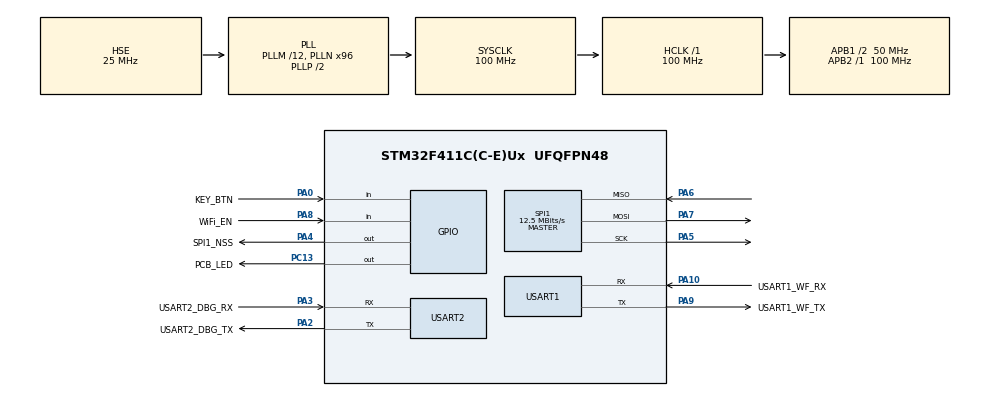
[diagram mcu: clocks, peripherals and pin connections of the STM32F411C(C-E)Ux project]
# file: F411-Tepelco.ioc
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Mcu.Family=STM32F4
Mcu.Name=STM32F411C(C-E)Ux
Mcu.Package=UFQFPN48
NVIC.PriorityGroup=NVIC_PRIORITYGROUP_4
NVIC.TIM2_IRQn=true\:0\:0\:false\:false\:true\:true\:true\:true
NVIC.USART1_IRQn=true\:0\:0\:false\:false\:true\:true\:true\:true
NVIC.USART2_IRQn=true\:0\:0\:false\:false\:true\:true\:true\:true
PA0-WKUP.GPIO_Label=KEY_BTN
PA0-WKUP.Signal=GPIO_Input
PA10.GPIO_Label=USART1_WF_RX
PA10.Mode=Asynchronous
PA10.Signal=USART1_RX
PA13.Mode=Trace_Asynchronous_SW
PA13.Signal=SYS_JTMS-SWDIO
PA14.Mode=Trace_Asynchronous_SW
PA14.Signal=SYS_JTCK-SWCLK
PA2.GPIO_Label=USART2_DBG_TX
PA2.Mode=Asynchronous
PA2.Signal=USART2_TX
PA3.GPIO_Label=USART2_DBG_RX
PA3.Mode=Asynchronous
PA3.Signal=USART2_RX
PA4.GPIO_Label=SPI1_NSS
PA4.GPIO_Speed=GPIO_SPEED_FREQ_VERY_HIGH
PA4.PinState=GPIO_PIN_SET
PA4.Signal=GPIO_Output
PA5.Mode=Full_Duplex_Master
PA5.Signal=SPI1_SCK
PA6.Mode=Full_Duplex_Master
PA6.Signal=SPI1_MISO
PA7.Mode=Full_Duplex_Master
PA7.Signal=SPI1_MOSI
PA8.GPIO_Label=WiFi_EN
PA8.Signal=GPIO_Input
PA9.GPIO_Label=USART1_WF_TX
PA9.Mode=Asynchronous
PA9.Signal=USART1_TX
PB3.Mode=Trace_Asynchronous_SW
PB3.Signal=SYS_JTDO-SWO
PC13-ANTI_TAMP.GPIO_Label=PCB_LED
PC13-ANTI_TAMP.Signal=GPIO_Output
PC14-OSC32_IN.Mode=LSE-External-Oscillator
PC14-OSC32_IN.Signal=RCC_OSC32_IN
PC15-OSC32_OUT.Mode=LSE-External-Oscillator
PC15-OSC32_OUT.Signal=RCC_OSC32_OUT
PH0\ -\ OSC_IN.Mode=HSE-External-Oscillator
PH0\ -\ OSC_IN.Signal=RCC_OSC_IN
PH1\ -\ OSC_OUT.Mode=HSE-External-Oscillator
PH1\ -\ OSC_OUT.Signal=RCC_OSC_OUT
ProjectManager.HeapSize=0x200
ProjectManager.StackSize=0x400
ProjectManager.TargetToolchain=STM32CubeIDE
RCC.48MHZClocksFreq_Value=50000000
RCC.AHBFreq_Value=100000000
RCC.APB1CLKDivider=RCC_HCLK_DIV2
RCC.APB1Freq_Value=50000000
RCC.APB1TimFreq_Value=100000000
RCC.APB2Freq_Value=100000000
RCC.APB2TimFreq_Value=100000000
RCC.CortexFreq_Value=100000000
RCC.HCLKFreq_Value=100000000
RCC.HSE_VALUE=25000000
RCC.HSI_VALUE=16000000
RCC.PLLM=12
RCC.PLLN=96
RCC.PLLSourceVirtual=RCC_PLLSOURCE_HSE
RCC.SYSCLKFreq_VALUE=100000000
RCC.SYSCLKSource=RCC_SYSCLKSOURCE_PLLCLK
RCC.VCOOutputFreq_Value=200000000
SPI1.BaudRatePrescaler=SPI_BAUDRATEPRESCALER_8
SPI1.CalculateBaudRate=12.5 MBits/s
SPI1.Direction=SPI_DIRECTION_2LINES
SPI1.Mode=SPI_MODE_MASTER
SPI1.VirtualType=VM_MASTER
TIM2.AutoReloadPreload=TIM_AUTORELOAD_PRELOAD_ENABLE
TIM2.Channel-Output\ Compare1\ No\ Output=TIM_CHANNEL_1
TIM2.OCMode_1=TIM_OCMODE_TIMING
TIM2.Period=100
TIM2.Prescaler=100
USART1.VirtualMode=VM_ASYNC
USART2.VirtualMode=VM_ASYNC
VP_TIM2_VS_ClockSourceINT.Mode=Internal
VP_TIM2_VS_OPM.Mode=OPM_bit
VP_TIM2_VS_no_output1.Mode=Output Compare1 No Output
board=custom

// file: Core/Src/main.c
/* USER CODE BEGIN Header */
/**
  ******************************************************************************
  * @file           : main.c
  * @brief          : Main program body
  ******************************************************************************
  * @attention
  *
  * Copyright (c) 2022 STMicroelectronics.
  * All rights reserved.
  *
  * This software is licensed under terms that can be found in the LICENSE file
  * in the root directory of this software component.
  * If no LICENSE file comes with this software, it is provided AS-IS.
  *
  ******************************************************************************
  */
/* USER CODE END Header */
#include "main.h"

/* USER CODE BEGIN Includes */
#include "ESP8266_Chelo.h"
#include "ModBUS_Chelo.h"
#include "STR_Chelo.h"
#include "ETH_W5100.h"
#include "string.h"
#include "stdio.h"
#include "http.h"
/* USER CODE END Includes */

/* USER CODE BEGIN PTD */
#define TOK 1
#define FIND 0
#define SERVIDOR 1
#define CLIENTE 0
/* USER CODE END PTD */

/* USER CODE BEGIN PM */
#define ITM_Port32(n)   (*((volatile unsigned long *)(0xE0000000+4*n)))
/* USER CODE END PM */

SPI_HandleTypeDef hspi1;

TIM_HandleTypeDef htim2;

UART_HandleTypeDef huart1;
UART_HandleTypeDef huart2;

/* USER CODE BEGIN PV */

struct WIFI wf;				// Instancia LoRa
struct MBUS mb_eth;			// Instancia Ethernet
struct MBUS mb_wf;			// Instancia MBUS Wi-Fi
struct W5100_SPI ETH; // Instancia de la comunicación Ethernet

char post[512];
char body[512];
char ENDPOINT[]="/logdata",
     SERVER_IP[]="192.168.0.91",
     PORT[]="8000";
uint32_t REG[254],		//Registros para ver ModBUS
 	 	 ms_ticks=0,
		 min_ticks=0;

// ****** Begin Firmware Registers ****** //

// ****** End Firmware Registers ****** //

// ****** Begin Socket Memory assignment ****** //
/*uint16_t 	S0_get_size = 0,
			S0_RX_RD = 0,
			tx_mem_pointer=0,
			rx_mem_pointer=0,
			send_size=0;*/
uint16_t 	S0_get_size = 0,
			S0_get_offset = 0,
			S0_RX_RD = 0,
			S0_get_start_address = 0,
			tx_mem_pointer=0,
			rx_mem_pointer=0,
			destination_addr=0,
			left_size=0,
			upper_size=0,
			S0_READ_RX_RD=0,
			S0_bf_rcv_offset=0,

			Sn_TX_WR=0,
			get_offset=0,
			get_free_size=0,
			get_start_address=0,
			source_addr=0,
			send_size=0;
// ****** End Socket Memory assignment ****** //

uint8_t spi_Data[64],
		spi_no_debug=0,
		ESP_REinit=0,			//Conteo de intentos de incializacion
		ESP_InitF=0,			//Flag de error por no encontrar la sentencia
		ESP_HW_Init=0,
		EN_UART1_WF_TMR=0,
		EN_USART1_TMR=0,
		FLAG_TIMEOUT_WF=0,
		FLAG_UART1_WF=0,
		esp_restart=0,
		conexion,
		asc=0,
		WF_SND_FLAG=0,
		error=0,
		//--------debug----//
		SPI_ETH_READ_EN=0;

char	UART1_WF_RX_vect[512],
		UART2_RX_vect[512],
		UART1_WF_RX_vect_hld[512],
		WIFI_NET[]="PLC_DEV",//WIFI_NET[]="Fibertel WiFi967 2.4GHz",//WIFI_NET[]="PLC_DEV",//
		WIFI_PASS[]="12345678",//WIFI_PASS[]="0042880756",//WIFI_PASS[]="12345678",//
		TCP_SERVER[]="192.168.0.91",//"192.168.0.91",//TCP_SERVER[]="192.168.0.65",//TCP_SERVER[]="192.168.0.102",//TCP_SERVER[]="192.168.0.47",
		TCP_PORT[]="8000",//TCP_PORT[]="502",
		TCP_SERVER_LOCAL[]="192.168.0.35",//TCP_SERVER_LOCAL[]="192.168.0.33",//TCP_SERVER[]="192.168.0.47",
		TCP_SERVER_LOCAL_GWY[]="192.168.0.99",//TCP_SERVER[]="192.168.0.47",
		TCP_SERVER_LOCAL_MSK[]="255.255.255.0",//TCP_SERVER[]="192.168.0.47",
		TCP_PORT_LOCAL[]="502",
		CMP_VECT[]="\0",
		UART1_WF_RX_byte[2];

int UART1_WF_RX_items=0,
    ESP_ticks=0,
	MBUS_ticks=0,
	MB_TOUT_ticks=0,
    ticks=0,
	ntestc=0,
	dummy_int=0,
	uart1pass=0,
	USART1_ticks=0,
	FLAG_USART1=0,
	items_rx=0,
	UART1_WF_RX_pos=0,
	ETH_DBG_EN=1,
	WF_SER_DBG=1,					//Debug serial habilitado
	wf_snd_flag_ticks=0;

long dbgn=0;

enum {
	TEPELCO,
	TEST_1,
	TEST_2
};
/* USER CODE END PV */

void SystemClock_Config(void);
static void MX_GPIO_Init(void);
static void MX_SPI1_Init(void);
static void MX_USART1_UART_Init(void);
static void MX_USART2_UART_Init(void);
static void MX_TIM2_Init(void);
/* USER CODE BEGIN PFP */
	uint8_t ESP8266_HW_Init(UART_HandleTypeDef *);
	void ESP8266_HW_Reset(void);
	void Actualizar_RXdata(int );
/* USER CODE END PFP */

int main(void)
{
  /* USER CODE BEGIN 1 */
	//----------------------- ETHERNET W5100 Environment-------------------------//

	//	GATEWAY ADDRESS
		ETH.GAR[0]=192;
		ETH.GAR[1]=168;
		ETH.GAR[2]=0;
		ETH.GAR[3]=1;
	//	SUBNET MASK
		ETH.SUBR[0]=255;
		ETH.SUBR[1]=255;
		ETH.SUBR[2]=255;
		ETH.SUBR[3]=0;
	//	MAC ADDRESS
		ETH.SHAR[0]=0x00;
		ETH.SHAR[1]=0x08;
		ETH.SHAR[2]=0xDC;
		ETH.SHAR[3]=0x00;
		ETH.SHAR[4]=0x00;
		ETH.SHAR[5]=0x01;
	//	IP ADDRESS
		ETH.SIPR[0]=192;
		ETH.SIPR[1]=168;
		ETH.SIPR[2]=0;
		ETH.SIPR[3]=34;//ETH.SIPR[3]=6,
	//  Socket RX memory
		ETH.RMSR=0x55;
	//  Socket TX memory
		ETH.TMSR=0x55;
	//  S0 Port Number
		ETH.S0_PORT[0]=0x01;
		ETH.S0_PORT[1]=0xF6;
	//	S0 Client IP ADDRESS
		ETH.S0_DIPR[0]=192;
		ETH.S0_DIPR[1]=168;
		ETH.S0_DIPR[2]=0;
		ETH.S0_DIPR[3]=3;//=3;
	//	S0 Client IP ADDRESS
		ETH.S0_DPORT[0]=0x01;
		ETH.S0_DPORT[1]=0xF6;

		ETH.gS0_RX_BASE = 0x6000;
		ETH.gS0_RX_MASK = 0x07FF;
		ETH.gS1_RX_BASE = 0x6800;
		ETH.gS1_RX_MASK = 0x07FF;
		ETH.gS2_RX_BASE = 0x7000;
		ETH.gS2_RX_MASK = 0x07FF;
		ETH.gS3_RX_BASE = 0x7800;
		ETH.gS3_RX_MASK = 0x07FF;
		ETH.gS0_TX_BASE = 0x4000;
		ETH.gS0_TX_MASK = 0x07FF;
		ETH.gS1_TX_BASE = 0x4800;
		ETH.gS1_TX_MASK = 0x07FF;
		ETH.gS2_TX_BASE = 0x5000;
		ETH.gS2_TX_MASK = 0x07FF;
		ETH.gS3_TX_BASE = 0x5800;
		ETH.gS3_TX_MASK = 0x07FF;

		ETH.S0_ENserver = 0;			//Actúa como servidor S0_ENserver=1 o cliente S0_ENserver=0

	//----------------------- ETHERNET W5100 Environment-------------------------//

	//----------------------- WIFI ------------------------//
 	  	Inicializar(&wf); 									//Borra todos los registros de la estructura
		strcpy(wf._WF_Net, WIFI_NET);						//Nombre de la red WIFI  a conectar Fibertel WiFi967 2.4GHz
		strcpy(wf._WF_Pass, WIFI_PASS);						//Password de la red WIFI
		strcpy(wf._TCP_Remote_Server_IP, TCP_SERVER);		//char _TCP_Remote_Server_IP[16];		//IP del Servidor TCP
		strcpy(wf._TCP_Remote_Server_Port, TCP_PORT);		//char _TCP_Remote_Server_Port[16];			//Puerto del Servidor TCP
		strcpy(wf._TCP_Local_Server_IP, TCP_SERVER_LOCAL);
		strcpy(wf._TCP_Local_Server_GWY, TCP_SERVER_LOCAL_GWY);
		strcpy(wf._TCP_Local_Server_MSK, TCP_SERVER_LOCAL_MSK);
		strcpy(wf._TCP_Local_Server_Port, TCP_PORT_LOCAL);
		wf._TCP_Local_Server_EN=0;							//Habilito el Servidor Local
		wf._data2SND[0]=0x00;//strcpy(wf._data2SND,"01;03;00;00;00;0A;C5;CD");//strcpy(wf._data2SND,"20;352;52#");
		wf._data2SND[1]=0x00;
		wf._data2SND[2]=0x00;
		wf._data2SND[3]=0x00;
		wf._data2SND[4]=0x00;
		wf._data2SND[5]=0x06;
		wf._data2SND[6]=0x01;
		wf._data2SND[7]=0x03;
		wf._data2SND[8]=0x00;//strcpy(wf._data2SND,"01;03;00;00;00;0A;C5;CD");//strcpy(wf._data2SND,"20;352;52#");
		wf._data2SND[9]=0x00;
		wf._data2SND[10]=0x00;
		wf._data2SND[11]=0x0A;
		wf._data2SND[12]=0x00;
		wf._data2SND[13]=0x33;
		wf._data2SND[14]=0x34;
		wf._data2SND[15]=0x35;
		wf._n_D2SND=12;
		wf._estado_conexion=100;//Si no se define no arranca	//wf._estado_conexion=1;					//Arranco en WiFi Desconectado
		wf._automatizacion=WF_CONNECT_TCP;//wf._automatizacion=WF_SEND;
		wf._NO_IP=1;
		wf._DBG_EN=1;

	// ----------- INICIO - Seteo de módulo Ethernet W5100 ----------- //

		spi_no_debug=1;
		ETH.NSS_PORT=GPIOA;
		ETH.NSS_PIN=GPIO_PIN_4;
		ETH.SPI= &hspi1;

	// ----------- FIN - Seteo de módulo Ethernet W5100 ----------- //

	 //----------------------- WIFI ------------------------//

	 //---------------------- ModBUS -----------------------//

		ModBUS_Config(&mb_eth);		//ETHERNET como cliente TCP envía  ModBUS
		mb_eth._mode = CLIENTE;
		ModBUS_Config(&mb_wf);	//WIFI como servidor TCP, recibe comadno ModBUS
		mb_wf._mode = CLIENTE;
		ModBUS_F03_Assign(&mb_wf,3,0xAA55);

	 //---------------------- ModBUS -----------------------//
  /* USER CODE END 1 */

  /* MCU Configuration--------------------------------------------------------*/

  /* Reset of all peripherals, Initializes the Flash interface and the Systick. */
  HAL_Init();

  /* Configure the system clock */
  SystemClock_Config();

  /* USER CODE BEGIN SysInit */
  SysTick_Config(SystemCoreClock/1000);
  /* USER CODE END SysInit */

  /* Initialize all configured peripherals */
  MX_GPIO_Init();
  MX_SPI1_Init();
  MX_USART1_UART_Init();
  MX_USART2_UART_Init();
  MX_TIM2_Init();
  /* USER CODE BEGIN 2 */

	HAL_GPIO_WritePin(GPIOA, GPIO_PIN_1, 0);
	ITM0_Write("\r\n INICIO OK\r\n",strlen("\r\n INICIO OK\r\n"));
	HAL_UART_Receive_IT(&huart1,(uint8_t *)UART1_WF_RX_byte,1);		//Escucho el puerto serie
	ESP8266_HW_Reset();		 						          	//Reseteo el modulo desde el pin de RESET
	if (wf._DBG_EN==1)
		{
		ITM0_Write("\r\n RESET ESP8266 \r\n",strlen("\r\n RESET ESP8266 \r\n"));
		}
	if (WF_SER_DBG==1)
		{
		HAL_UART_Transmit_IT(&huart2, "\r\n RESET ESP8266 \r\n",strlen("\r\n RESET ESP8266 \r\n"));
		}
	if (ETH_DBG_EN == 1) ITM0_Write("\r\n SET-UP W5100 \r\n",strlen("\r\n SET-UP W5100 \r\n"));

	ETH.operacion=SPI_WRITE;
	ETH.TX[1]= 0;
	ETH.TX[2]= 1;
	ETH.TX[3]= 192;

	eth_init(&ETH);

	eth_socket_init(&ETH,0);

	SPI_ETH_READ_EN=1;
	ETH.operacion=SPI_READ;
	ETH.TX[1]= 0;
	ETH.TX[2]= 1;
	ETH.TX[3]= 0;

     if(ESP8266_HW_Init(&huart1)==1)
     {
   	  ESP_HW_Init=1;
   	  if (wf._DBG_EN==1) ITM0_Write("\r\n ESP HW Init OK\r\n",19);
   	  if (WF_SER_DBG==1) HAL_UART_Transmit_IT(&huart2,"\r\n ESP HW Init OK\r\n",strlen("\r\n ESP HW Init OK\r\n"));
     }
     else
     {
   	  ESP8266_HW_Reset(); 				//Si no logra resetear con el comando de AT+RESTORE, pruebo el resete desde hardware
   	  if(ESP8266_HW_Init(&huart1)==1)
   	  {
   		  ESP_HW_Init=1;
   		  if (wf._DBG_EN==1) ITM0_Write("\r\n ESP HW Init OK\r\n",19);
   		  if (WF_SER_DBG==1) HAL_UART_Transmit_IT(&huart2,"\r\n ESP HW Init OK\r\n",strlen("\r\n ESP HW Init OK\r\n"));
   	  }
   	  else
   	  {
   		  ESP_HW_Init=0;
   		  if (wf._DBG_EN==1)  ITM0_Write("\r\n ESP HW Init Fail\r\n",24);
   		  if (WF_SER_DBG==1) HAL_UART_Transmit_IT(&huart2,"\r\n ESP HW Init Fail\r\n",strlen("\r\n ESP HW Init Fail\r\n"));
   	  }
     }

     HAL_Delay(1000);
  /* USER CODE END 2 */

  /* Infinite loop */
  while (1)
  {

    /* USER CODE BEGIN 3 */

	  /**************[ INICIO PIDO ENVIAR DATOS ]**************/
	  	  if (ESP_HW_Init==1)
	  	  {
	  		if (WF_SER_DBG==1)
	  		{
	  			//if((WF_SND_FLAG==1)&&(wf._estado_conexion>=609)&&(ETH.S0_data_available)) HAL_UART_Transmit_IT(&huart2,"\r\nCOND OK\r\n",strlen("\r\nCOND OK\r\n"));
	  			//if((WF_SND_FLAG==1)&&(wf._estado_conexion<609)) HAL_UART_Transmit_IT(&huart2,"\r\nNO CONN STATE\r\n",strlen("\r\nNO CONN STATE\r\n"));
	  			//if((WF_SND_FLAG==1)&&(!ETH.S0_data_available)) HAL_UART_Transmit_IT(&huart2,"\r\nNO DATA RDY\r\n",strlen("\r\nNO DATA RDY\r\n"));
	  		}
	  			if((WF_SND_FLAG==1)&&(wf._TCP_Local_Server_EN==0)&&(wf._estado_conexion>=609)&&(ETH.S0_data_available))
	  			{	ETH.S0_data_available=0;
	  				wf_snd_flag_ticks=0;
	  				WF_SND_FLAG=0;
	  				if( httpPOST(	ENDPOINT, SERVER_IP,PORT,
	  								ModBUS_F03_Read(&mb_eth,0),
	  								ModBUS_F03_Read(&mb_eth,1),
	  								ModBUS_F03_Read(&mb_eth,2),
	  								ModBUS_F03_Read(&mb_eth,3),
	  								ModBUS_F03_Read(&mb_eth,4),
	  								ModBUS_F03_Read(&mb_eth,5),
	  								ModBUS_F03_Read(&mb_eth,6),
	  								ModBUS_F03_Read(&mb_eth,7),
	  								ModBUS_F03_Read(&mb_eth,8),
									ModBUS_F03_Read(&mb_eth,9),
									0,0,0,0,0,0,TEPELCO,post, body, 512) )
	  				{
	  							CopiaVector(wf._data2SND,post,strlen(post),0,'A');
	  							wf._n_D2SND=strlen(post);
	  							if(wf._automatizacion < WF_SEND)		// Send only with automation sent diasabled
	  							{
	  								EnviarDatos(&wf);
	  								wf._estado_conexion=TCP_SND_EN_CURSO;
	  							}
	  				}
	  			}
	  	  }
	  /**************[ FIN PIDO ENVIAR DATOS ]**************/

	  		if ((FLAG_UART1_WF==1)||(FLAG_TIMEOUT_WF==1))  //Si recibí datos o me fui por TimeOUT
	  		{
	  			if(FLAG_UART1_WF==1)
	  				{
	  					CopiaVector(wf._uartRCVD,UART1_WF_RX_vect_hld,UART1_WF_RX_items,1,CMP_VECT);
	  					FLAG_UART1_WF=0;
	  				}
	  			if(FLAG_TIMEOUT_WF==1)
	  					{
	  						FLAG_TIMEOUT_WF=0;
	  					}

	  			if (ESP_HW_Init==1) //Si el módulo se inició correctamente
	  				{
	  					/*************** Copio y proceso info recibida ***************/
	  					wf._n_orig=UART1_WF_RX_items;
	  					CopiaVector(wf._uartRCVD,UART1_WF_RX_vect_hld,UART1_WF_RX_items,1,CMP_VECT);
	  					dummy_int=AT_ESP8266_ND(&wf);

	  					/*************** Si recibo datos y estan correctos me fijo que son ***************/

	  					if ((wf._new_data_rcv==1)&&(wf._estado_rcv_data==99))
	  					{

	  						CopiaVector(mb_wf._MBUS_RCVD,wf._dataRCV,wf._n_dataRCV,0,'A');
	  						mb_wf._n_MBUS_RCVD=wf._n_dataRCV;

	  						ModBUS(&mb_wf);

	  						CopiaVector(wf._data2SND,mb_wf._MBUS_2SND,mb_wf._n_MBUS_2SND,0,'A');
	  						wf._n_D2SND=mb_wf._n_MBUS_2SND;
	  						wf._new_data_rcv=0;//
	  						wf._send_data=1;
	  					}else
	  						{
	  							// DATA ERRONEA NO SE PROCESA
	  						}
	  					}

	  		}
// AGREGAR TIMER EN MS TICKS PARA HABILITAR ESTADO Y CUENTA TODOS EN EL STRUCT

	  		if (ESP_HW_Init==1) //Si el módulo se inició correctamente
	  			{
	  				conexion=WiFi_Conn_ND(&wf,&huart1,1);	//Tiene que ir en el main el chequeo es constante
	  			}
	  		if (esp_restart==1) //WRNNG Hardcoded RESET WIFI
	  			{
	  				HAL_GPIO_WritePin(GPIOA, GPIO_PIN_8, GPIO_PIN_RESET);
	  				ITM0_Write("\r\n ESP HW Resetting\r\n",strlen("\r\n ESP HW Resetting\r\n"));
	  				HAL_Delay(2000);//210419
	  				HAL_GPIO_WritePin(GPIOA, GPIO_PIN_8, GPIO_PIN_SET);
	  				ITM0_Write("\r\n ESP WAIT 5s AFT RST\r\n",strlen("\r\n ESP WAIT 5s AFT RST\r\n"));
	  				HAL_Delay(5000);//210419
	  				esp_restart=0;
	  			}
  }
  /* USER CODE END 3 */
}

void SystemClock_Config(void)
{
  RCC_OscInitTypeDef RCC_OscInitStruct = {0};
  RCC_ClkInitTypeDef RCC_ClkInitStruct = {0};

  /** Configure the main internal regulator output voltage
  */
  __HAL_RCC_PWR_CLK_ENABLE();
  __HAL_PWR_VOLTAGESCALING_CONFIG(PWR_REGULATOR_VOLTAGE_SCALE1);

  /** Initializes the RCC Oscillators according to the specified parameters
  * in the RCC_OscInitTypeDef structure.
  */
  RCC_OscInitStruct.OscillatorType = RCC_OSCILLATORTYPE_HSE;
  RCC_OscInitStruct.HSEState = RCC_HSE_ON;
  RCC_OscInitStruct.PLL.PLLState = RCC_PLL_ON;
  RCC_OscInitStruct.PLL.PLLSource = RCC_PLLSOURCE_HSE;
  RCC_OscInitStruct.PLL.PLLM = 12;
  RCC_OscInitStruct.PLL.PLLN = 96;
  RCC_OscInitStruct.PLL.PLLP = RCC_PLLP_DIV2;
  RCC_OscInitStruct.PLL.PLLQ = 4;
  if (HAL_RCC_OscConfig(&RCC_OscInitStruct) != HAL_OK)
  {
    Error_Handler();
  }

  /** Initializes the CPU, AHB and APB buses clocks
  */
  RCC_ClkInitStruct.ClockType = RCC_CLOCKTYPE_HCLK|RCC_CLOCKTYPE_SYSCLK
                              |RCC_CLOCKTYPE_PCLK1|RCC_CLOCKTYPE_PCLK2;
  RCC_ClkInitStruct.SYSCLKSource = RCC_SYSCLKSOURCE_PLLCLK;
  RCC_ClkInitStruct.AHBCLKDivider = RCC_SYSCLK_DIV1;
  RCC_ClkInitStruct.APB1CLKDivider = RCC_HCLK_DIV2;
  RCC_ClkInitStruct.APB2CLKDivider = RCC_HCLK_DIV1;

  if (HAL_RCC_ClockConfig(&RCC_ClkInitStruct, FLASH_LATENCY_3) != HAL_OK)
  {
    Error_Handler();
  }
}

static void MX_SPI1_Init(void)
{

  /* SPI1 parameter configuration*/
  hspi1.Instance = SPI1;
  hspi1.Init.Mode = SPI_MODE_MASTER;
  hspi1.Init.Direction = SPI_DIRECTION_2LINES;
  hspi1.Init.DataSize = SPI_DATASIZE_8BIT;
  hspi1.Init.CLKPolarity = SPI_POLARITY_LOW;
  hspi1.Init.CLKPhase = SPI_PHASE_1EDGE;
  hspi1.Init.NSS = SPI_NSS_SOFT;
  hspi1.Init.BaudRatePrescaler = SPI_BAUDRATEPRESCALER_8;
  hspi1.Init.FirstBit = SPI_FIRSTBIT_MSB;
  hspi1.Init.TIMode = SPI_TIMODE_DISABLE;
  hspi1.Init.CRCCalculation = SPI_CRCCALCULATION_DISABLE;
  hspi1.Init.CRCPolynomial = 10;
  if (HAL_SPI_Init(&hspi1) != HAL_OK)
  {
    Error_Handler();
  }

}

static void MX_TIM2_Init(void)
{

  TIM_ClockConfigTypeDef sClockSourceConfig = {0};
  TIM_MasterConfigTypeDef sMasterConfig = {0};
  TIM_OC_InitTypeDef sConfigOC = {0};

  htim2.Instance = TIM2;
  htim2.Init.Prescaler = 100;
  htim2.Init.CounterMode = TIM_COUNTERMODE_UP;
  htim2.Init.Period = 100;
  htim2.Init.ClockDivision = TIM_CLOCKDIVISION_DIV1;
  htim2.Init.AutoReloadPreload = TIM_AUTORELOAD_PRELOAD_ENABLE;
  if (HAL_TIM_Base_Init(&htim2) != HAL_OK)
  {
    Error_Handler();
  }
  sClockSourceConfig.ClockSource = TIM_CLOCKSOURCE_INTERNAL;
  if (HAL_TIM_ConfigClockSource(&htim2, &sClockSourceConfig) != HAL_OK)
  {
    Error_Handler();
  }
  if (HAL_TIM_OC_Init(&htim2) != HAL_OK)
  {
    Error_Handler();
  }
  if (HAL_TIM_OnePulse_Init(&htim2, TIM_OPMODE_SINGLE) != HAL_OK)
  {
    Error_Handler();
  }
  sMasterConfig.MasterOutputTrigger = TIM_TRGO_RESET;
  sMasterConfig.MasterSlaveMode = TIM_MASTERSLAVEMODE_DISABLE;
  if (HAL_TIMEx_MasterConfigSynchronization(&htim2, &sMasterConfig) != HAL_OK)
  {
    Error_Handler();
  }
  sConfigOC.OCMode = TIM_OCMODE_TIMING;
  sConfigOC.Pulse = 0;
  sConfigOC.OCPolarity = TIM_OCPOLARITY_HIGH;
  sConfigOC.OCFastMode = TIM_OCFAST_DISABLE;
  if (HAL_TIM_OC_ConfigChannel(&htim2, &sConfigOC, TIM_CHANNEL_1) != HAL_OK)
  {
    Error_Handler();
  }

}

static void MX_USART1_UART_Init(void)
{

  huart1.Instance = USART1;
  huart1.Init.BaudRate = 115200;
  huart1.Init.WordLength = UART_WORDLENGTH_8B;
  huart1.Init.StopBits = UART_STOPBITS_1;
  huart1.Init.Parity = UART_PARITY_NONE;
  huart1.Init.Mode = UART_MODE_TX_RX;
  huart1.Init.HwFlowCtl = UART_HWCONTROL_NONE;
  huart1.Init.OverSampling = UART_OVERSAMPLING_16;
  if (HAL_UART_Init(&huart1) != HAL_OK)
  {
    Error_Handler();
  }

}

static void MX_USART2_UART_Init(void)
{

  huart2.Instance = USART2;
  huart2.Init.BaudRate = 115200;
  huart2.Init.WordLength = UART_WORDLENGTH_8B;
  huart2.Init.StopBits = UART_STOPBITS_1;
  huart2.Init.Parity = UART_PARITY_NONE;
  huart2.Init.Mode = UART_MODE_TX_RX;
  huart2.Init.HwFlowCtl = UART_HWCONTROL_NONE;
  huart2.Init.OverSampling = UART_OVERSAMPLING_16;
  if (HAL_UART_Init(&huart2) != HAL_OK)
  {
    Error_Handler();
  }

}

static void MX_GPIO_Init(void)
{
  GPIO_InitTypeDef GPIO_InitStruct = {0};

  /* GPIO Ports Clock Enable */
  __HAL_RCC_GPIOC_CLK_ENABLE();
  __HAL_RCC_GPIOH_CLK_ENABLE();
  __HAL_RCC_GPIOA_CLK_ENABLE();
  __HAL_RCC_GPIOB_CLK_ENABLE();

  /*Configure GPIO pin Output Level */
  HAL_GPIO_WritePin(PCB_LED_GPIO_Port, PCB_LED_Pin, GPIO_PIN_RESET);

  /*Configure GPIO pin Output Level */
  HAL_GPIO_WritePin(SPI1_NSS_GPIO_Port, SPI1_NSS_Pin, GPIO_PIN_SET);

  /*Configure GPIO pin : PCB_LED_Pin */
  GPIO_InitStruct.Pin = PCB_LED_Pin;
  GPIO_InitStruct.Mode = GPIO_MODE_OUTPUT_PP;
  GPIO_InitStruct.Pull = GPIO_NOPULL;
  GPIO_InitStruct.Speed = GPIO_SPEED_FREQ_LOW;
  HAL_GPIO_Init(PCB_LED_GPIO_Port, &GPIO_InitStruct);

  /*Configure GPIO pins : KEY_BTN_Pin WiFi_EN_Pin */
  GPIO_InitStruct.Pin = KEY_BTN_Pin|WiFi_EN_Pin;
  GPIO_InitStruct.Mode = GPIO_MODE_INPUT;
  GPIO_InitStruct.Pull = GPIO_NOPULL;
  HAL_GPIO_Init(GPIOA, &GPIO_InitStruct);

  /*Configure GPIO pin : SPI1_NSS_Pin */
  GPIO_InitStruct.Pin = SPI1_NSS_Pin;
  GPIO_InitStruct.Mode = GPIO_MODE_OUTPUT_PP;
  GPIO_InitStruct.Pull = GPIO_NOPULL;
  GPIO_InitStruct.Speed = GPIO_SPEED_FREQ_VERY_HIGH;
  HAL_GPIO_Init(SPI1_NSS_GPIO_Port, &GPIO_InitStruct);

}

/* USER CODE BEGIN 4 */

int ITM0_Write( char *ptr, int len)
{
 int DataIdx;

  for(DataIdx=0; DataIdx<len; DataIdx++)
  {
    ITM_SendChar(*ptr++);
  }
  return len;
}

void SysTick_Handler(void)
{
  /* USER CODE BEGIN SysTick_IRQn 0 */

	ms_ticks++;	//100 ms

	ESP_ticks++;
	if(mb_eth._w_answer) MB_TOUT_ticks++;
	if ( mb_eth._w_answer && (mb_eth._timeout < MB_TOUT_ticks))
		{
			mb_eth._w_answer=0;
			MB_TOUT_ticks=0;
		}

// ENVIO DATOS WF ---------------------------------------------------------------//

	if((wf._estado_conexion==609 || wf._estado_conexion==700)&&(wf._TCP_Local_Server_EN==0))  wf_snd_flag_ticks++;

	if(wf_snd_flag_ticks>=20000 && wf._ejecucion!=1 && wf._TCP_Local_Server_EN==0)		 	  WF_SND_FLAG=1;		//Envío de datos cada 20 segs

// ENVIO DATOS WF ----------------------------------- ---------------------------//

/**********************[ INICIO - EHTERNET WDG ] **********************/

	if(ETH.S0_status == 0)
	{
		ETH.ETH_WDG++;
		if (ETH.ETH_WDG>=64000) ETH.ETH_WDG=64000;		//Si alcanza valor límite lo dejo en 64000
	}

/**********************[ FIN 	- EHTERNET WDG ] **********************/

if (ms_ticks==300)
  {
	dbgn++;
	ms_ticks=0;
	min_ticks++;

  	//if(MBUS_ticks==360) MBUS_ticks=0;

  /*	if (asc==0)  MBUS_ticks++;
  	if (MBUS_ticks==100) asc=1;
  	if (asc==1) MBUS_ticks--;
  	if (MBUS_ticks==0) asc=0;*/

	HAL_GPIO_TogglePin(GPIOC, GPIO_PIN_13);

	if(spi_no_debug)
	  {
	  if(SPI_ETH_READ_EN)
	  {
	     ETH.S0_status=eth_rd_SOCKET_STAT(&ETH,0);

		  switch(ETH.S0_status)	//Check Socket status
	     {
			 case SOCK_CLOSED :
				 {
					 if (ETH_DBG_EN == 1) {ITM0_Write("\r\nS0_SOCK_CLOSED \r\n",strlen("\r\nS0_SOCK_CLOSED \r\n"));}
					 eth_wr_SOCKET_CMD(&ETH, 0 ,OPEN );
					 // Si no tengo intento de ARP por 5 segundos vuelvo a inicializar
					 if(ETH.ETH_WDG>=5000)
					 {
						 ETH.ETH_WDG=0;
						 eth_init(&ETH);
						 eth_socket_init(&ETH,0);
					 }

				 }
			 break;
			 case  SOCK_INIT :
				 {
					 if(ETH.S0_ENserver == 1)
					 {
						 if (ETH_DBG_EN == 1) {ITM0_Write("\r\nS0_SOCK_INIT \r\n",strlen("\r\nS0_SOCK_INIT \r\n"));}
							eth_wr_SOCKET_CMD(&ETH, 0, LISTEN );
							ETH.ETH_WDG=0;
					 }
					 else
					 {
						 	eth_wr_SOCKET_CMD(&ETH,0, CONNECT);																				//only for server
						 	if (ETH_DBG_EN == 1)
						 	{
						 		ITM0_Write("\r\nETH-W5100-CONNECT\r\n",strlen("\r\nETH-W5100-CONNECT\r\n"));
						 	}
						 	ETH.ETH_WDG=0;
					 }

				 }
			 break;
			 case SOCK_LISTEN :
				 {
					 if (ETH_DBG_EN == 1) {ITM0_Write("\r\nS0_SOCK_LISTEN \r\n",strlen("\r\nS0_SOCK_LISTEN \r\n"));}
					 ETH.ETH_WDG=0;
				 }
			 break;
			 case SOCK_SYNSENT :
				 {
					 if (ETH_DBG_EN == 1) {ITM0_Write("\r\nS0_SOCK_SYNSENT \r\n",strlen("\r\nS0_SOCK_SYNSENT \r\n"));}
					 ETH.ETH_WDG=0;
				 }
			 break;
			 case SOCK_SYNRECV :
				 {
					 if (ETH_DBG_EN == 1) {ITM0_Write("\r\nS0_SOCK_SYNRECV \r\n",strlen("\r\nS0_SOCK_SYNRECV \r\n"));}
					 ETH.ETH_WDG=0;
				 }
			 break;
			 case SOCK_ESTABLISHED :
				 {
					 if (ETH_DBG_EN == 1) {ITM0_Write("\r\nS0_SOCK_ESTABLISHED \r\n",strlen("\r\nS0_SOCK_ESTABLISHED \r\n"));}
					 ETH.ETH_WDG=0;

					if (ETH.S0_ENserver == 1)  // Si el puerto Ethernet actúa como server (Recibe datos conexión mas pedido mbus
					{

							S0_get_size = SPI_ETH_REG(&ETH, S0_RX_SZ_ADDR_BASEHH,S0_RX_SZ_ADDR_BASEHL ,SPI_READ, spi_Data,2);
							if(S0_get_size != 0x00)
							{
								eth_rd_SOCKET_DATA(&ETH,0,&rx_mem_pointer,S0_get_size); // read socket data
								SPI_ETH_WR_REG_16(&ETH,S0_RX_RD0,rx_mem_pointer );		// write rx memory pointer
								eth_wr_SOCKET_CMD(&ETH,0,RECV);							// write command to execute
								while(eth_rd_SOCKET_CMD(&ETH,0))						// wait until end of command execution
								{}

								CopiaVector(mb_eth._MBUS_RCVD, ETH.data, S0_get_size, 0, 0 );
								mb_eth._n_MBUS_RCVD=S0_get_size;

								//if(S0_get_size > 0)	{ ETH.S0_data_available=1;}					//Flag data received

								if(ModBUS_Check(mb_eth._MBUS_RCVD, mb_eth._n_MBUS_RCVD))		//Ckecks ModBUS type data
								{
									ModBUS(&mb_eth);										//ModBUS protocol execution
									CopiaVector(ETH.data, mb_eth._MBUS_2SND, mb_eth._n_MBUS_2SND, 0, 0);
								}
								else
								{
									if (ETH_DBG_EN == 1) {ITM0_Write("\r\n NO MBUS \r\n",strlen("\r\n\r\n NO MBUS \r\n\r\n"));}
								}

								send_size=mb_eth._n_MBUS_2SND;  //ModBUS data qty

								eth_wr_SOCKET_DATA(&ETH,0, &tx_mem_pointer, send_size);	// write socket data
								SPI_ETH_WR_REG_16(&ETH,0x424,tx_mem_pointer);			// write tx memory pointer
								eth_wr_SOCKET_CMD(&ETH,0,SEND);							// write command to execute
								while(eth_rd_SOCKET_CMD(&ETH,0))						// wait until end of command execution
								{}

							}
					}
					else	// Puerto ethernet labura como esclavo, se conecta al server para pedir datos
					{

						if (mb_eth._w_answer==0)
						{
							//Si ya envié vuelvo a enviar

							ETH.data[0]=0x00;
							ETH.data[1]=0x00;
							ETH.data[2]=0x00;
							ETH.data[3]=0x00;
							ETH.data[4]=0x00;
							ETH.data[5]=0x06;
							ETH.data[6]=0x01;
							ETH.data[7]=0x03;
							ETH.data[8]=0x00;
							ETH.data[9]=0x00;
							ETH.data[10]=0x00;
							ETH.data[11]=0x0A;
							send_size=12;

							ModBUS_F03_Request(&mb_eth,0,15);
							CopiaVector(ETH.data, mb_eth._MBUS_2SND, 12, 0, 0 );

							eth_wr_SOCKET_DATA(&ETH,0, &tx_mem_pointer, send_size);	// write socket data
							SPI_ETH_WR_REG_16(&ETH,0x424,tx_mem_pointer);			// write tx memory pointer
							eth_wr_SOCKET_CMD(&ETH,0,SEND);							// write command to execute
							while(eth_rd_SOCKET_CMD(&ETH,0))						// wait until end of command execution
							{}
							mb_eth._w_answer=1;	// Waiting answer flag
							MB_TOUT_ticks=0;	// restart counting
							if (ETH_DBG_EN == 1) {ITM0_Write("\r\n SENT MBUS REQ \r\n",strlen("\r\n\r\n SENT MBUS REQ \r\n\r\n"));}
						}
						else
						{
						S0_get_size = SPI_ETH_REG(&ETH, S0_RX_SZ_ADDR_BASEHH,S0_RX_SZ_ADDR_BASEHL ,SPI_READ, spi_Data,2);
							if(S0_get_size != 0x00)
							{
								eth_rd_SOCKET_DATA(&ETH,0,&rx_mem_pointer,S0_get_size); // read socket data
								SPI_ETH_WR_REG_16(&ETH,S0_RX_RD0,rx_mem_pointer );		// write rx memory pointer
								eth_wr_SOCKET_CMD(&ETH,0,RECV);							// write command to execute
								while(eth_rd_SOCKET_CMD(&ETH,0))						// wait until end of command execution
								{}

								CopiaVector(mb_eth._MBUS_RCVD, ETH.data, S0_get_size, 0, 0 );
								mb_eth._n_MBUS_RCVD=S0_get_size;

								//if(S0_get_size > 0)	{ ETH.S0_data_available=1;}

								if(ModBUS_Check(mb_eth._MBUS_RCVD, mb_eth._n_MBUS_RCVD))		//Ckecks ModBUS type data
									{
										mb_eth._w_answer=0;  									//Si el mensaje recibido ya es modbus digo que ya recibi
										MB_TOUT_ticks=0;
										ModBUS(&mb_eth);										//ModBUS protocol execution
										CopiaVector(ETH.swap, mb_eth._MBUS_RCVD, mb_eth._n_MBUS_RCVD, 0, 0);
										CopiaVector(mb_wf._Holding_Registers, mb_eth._Holding_Registers, 64, 0, 0);
										ETH.S0_data_available=1;	//Informa que se ha recibido un dato y es ModBUS
										if (ETH_DBG_EN == 1)
										{
											HAL_UART_Transmit_IT(&huart2,"\r\nMBUS RCVD\r\n",strlen("\r\nMBUS RCVD\r\n"));
											ITM0_Write("\r\n RCVD MBUS REQ \r\n",strlen("\r\n\r\n RCVD MBUS REQ \r\n\r\n"));
										}
									}
									else
										{
										if (ETH_DBG_EN == 1) {ITM0_Write("\r\n NO MBUS \r\n",strlen("\r\n\r\n NO MBUS \r\n\r\n"));}
										}

							}
						}
					}
				 }
			 break;
			 case SOCK_FIN_WAIT :
				 {
					 if (ETH_DBG_EN == 1) {ITM0_Write("\r\nS0_SOCK_FIN_WAIT \r\n",strlen("\r\nS0_SOCK_FIN_WAIT \r\n"));}
					 ETH.ETH_WDG=0;
				 }
			 break;
			 case SOCK_CLOSING :
				 {
					 if (ETH_DBG_EN == 1) {ITM0_Write("\r\nS0_SOCK_CLOSING \r\n",strlen("\r\nS0_SOCK_CLOSING \r\n"));}
					 ETH.ETH_WDG=0;
				 }
			 break;
			 case  SOCK_TIME_WAIT :
				 {
					 if (ETH_DBG_EN == 1) {ITM0_Write("\r\nS0_SOCK_TIME_WAIT \r\n",strlen("\r\nS0_SOCK_TIME_WAIT \r\n"));}
					eth_wr_SOCKET_CMD(&ETH,0, DISCON );
					while( SPI_ETH_REG(&ETH, S0_CR_ADDR_BASEH,S0_CR_ADDR_BASEL ,SPI_READ, spi_Data,1))
					{}
					ETH.ETH_WDG=0;
				 }
			 break;
			 case SOCK_CLOSE_WAIT :
				 {
					 if (ETH_DBG_EN == 1) {ITM0_Write("\r\nS0_SOCK_CLOSE_WAIT \r\n",strlen("\r\nS0_SOCK_CLOSE_WAIT \r\n"));}
					eth_wr_SOCKET_CMD(&ETH,0,DISCON );
					while( SPI_ETH_REG(&ETH, S0_CR_ADDR_BASEH,S0_CR_ADDR_BASEL ,SPI_READ, spi_Data,1))
					{}
					ETH.ETH_WDG=0;
				 }
			 break;
			 case SOCK_LAST_ACK :
				 {
					 if (ETH_DBG_EN == 1)
					 {
						 ITM0_Write("\r\nS0_SOCK_LAST_ACK \r\n",strlen("\r\nS0_SOCK_LAST_ACK \r\n"));
					 }
					 ETH.ETH_WDG=0;
				 }
			 break;
			 case SOCK_UDP :
				 {
					 if (ETH_DBG_EN == 1){ ITM0_Write("\r\nS0_SOCK_UDP \r\n",strlen("\r\nS0_SOCK_UDP \r\n"));}
					 ETH.ETH_WDG=0;
				 }
			 break;
			 case  SOCK_IPRAW :
				 {
					 if (ETH_DBG_EN == 1) {ITM0_Write("\r\nS0_SOCK_IPRAW \r\n",strlen("\r\nS0_SOCK_IPRAW \r\n"));}
					 ETH.ETH_WDG=0;
				 }
			 break;
			 case  SOCK_MACRAW :
				 {
					 if (ETH_DBG_EN == 1) {ITM0_Write("\r\nS0_SOCK_MACRAW \r\n",strlen("\r\nS0_SOCK_MACRAW \r\n"));}
					 ETH.ETH_WDG=0;
				 }
			 break;
			 case SOCK_PPOE :
				 {
					 if (ETH_DBG_EN == 1) {ITM0_Write("\r\nS0_SOCK_PPOE \r\n",strlen("\r\nS0_SOCK_PPOE \r\n"));}
					 ETH.ETH_WDG=0;
				 }
			 break;

			 default:
				 {

				 }
	     }
	  }
	  }else
	  	  {
		  SPI_ETH(&ETH);
	  	  }
	  if(min_ticks==2)//if(min_ticks==10)
		  {
		  	  min_ticks=0;  /* SETEO CADA 2 min*/
		  }
  }

	if(EN_USART1_TMR==1) USART1_ticks++;

	if(USART1_ticks>=2)//if(USART1_ticks>=10)
	{
		USART1_ticks=0;
		FLAG_USART1=1;
		EN_USART1_TMR=0;
		items_rx=uart1pass;
		uart1pass=0;
	}

  /* USER CODE END SysTick_IRQn 0 */
  HAL_IncTick();
  /* USER CODE BEGIN SysTick_IRQn 1 */
	if(wf._estado_conexion==4)//Solo cuento cuando no estahaciendo otra cosa
	{
		ticks++;
	}
	else
	{
		ticks=0;
	}

if(wf._ejecucion==1)
	{
		if (FLAG_TIMEOUT_WF!=1)
		{
			if(wf._instruccion!=2) wf._ticks++;//-----------------------Solo cuento una vez reconcido el timeout, cuando entro al timeout no cuento
			if(wf._instruccion==2) wf._ticks2++;
		}

		if ((wf._instruccion!=2)&&(wf._ticks > 5500)) //if (wf._ticks > 5000)
		{
			FLAG_TIMEOUT_WF=1;
			if(huart1.Instance->CR1 == 0x200C)  //--------------------Evito error UART colgado
			{
				HAL_UART_Receive_IT(&huart1,(uint8_t *)UART1_WF_RX_byte,1);
				EN_UART1_WF_TMR=0; //OBS-VER Para que me vuelva a habilitar el timer
			}
		}
		if ((wf._instruccion==2)&&(wf._ticks2 > 20500)) //if (wf._ticks > 5000)
		{
			FLAG_TIMEOUT_WF=1;
			if(huart1.Instance->CR1 == 0x200C)  //--------------------Evito error UART colgado
			{
				HAL_UART_Receive_IT(&huart1,(uint8_t *)UART1_WF_RX_byte,1);
				EN_UART1_WF_TMR=0; //OBS-VER Para que me vuelva a habilitar el timer
			}
		}

	}
	else
	{
		wf._ticks=0;
	}
  /* USER CODE END SysTick_IRQn 1 */
}
void HAL_UART_ErrorCallback(UART_HandleTypeDef *ERRUART)

{

	if(ERRUART->Instance==USART1)
	{

		HAL_UART_Transmit_IT(&huart2,"\r\nUART1ERR\r\n",strlen("\r\nUART1ERR\r\n"));

		volatile int aore=0;
		 volatile int bore=0;

			 wf._debug_count9++;
			aore=ERRUART->Instance->SR;
			bore=ERRUART->Instance->DR;

		 HAL_UART_DeInit(ERRUART);
		 MX_USART1_UART_Init();
		 HAL_UART_Receive_IT(ERRUART,(uint8_t *)UART1_WF_RX_byte,1);
	}
	if(ERRUART->Instance==USART2)
	{
		 volatile int aore=0;
		 volatile int bore=0;

			 wf._debug_count9++;
			aore=ERRUART->Instance->SR;
			bore=ERRUART->Instance->DR;

		 HAL_UART_DeInit(ERRUART);
		 MX_USART2_UART_Init();
		 HAL_UART_Receive_IT(ERRUART,(uint8_t *)UART1_WF_RX_byte,1);
	}
}

void HAL_TIM_ErrorCallback(TIM_HandleTypeDef *htim2)
{

		wf._debug_count10++;

}

void HAL_UART_RxCpltCallback(UART_HandleTypeDef *INTSERIE)
{

// WiFi	USART 1 TIMER2
	if(INTSERIE->Instance==USART1)
		 {
			UART1_WF_RX_vect[UART1_WF_RX_pos]=UART1_WF_RX_byte[0];
			UART1_WF_RX_pos++;
			if(UART1_WF_RX_pos>=512) UART1_WF_RX_pos=512;
			HAL_TIM_OC_Start_IT(&htim2, TIM_CHANNEL_1);//HAL_TIM_Base_Start_IT(&htim7);	//Habilito el timer
			TIM2->CNT=1;
			EN_UART1_WF_TMR=1;	//Habilito Timeout de software
			HAL_UART_Receive_IT(INTSERIE,(uint8_t *)UART1_WF_RX_byte,1);
		 }
 }

void HAL_TIM_OC_DelayElapsedCallback(TIM_HandleTypeDef *TIMER)
{
		if(TIMER->Instance==TIM2)
			{
				 HAL_TIM_OC_Stop_IT(TIMER, TIM_CHANNEL_1); //Paro el timer
				 FLAG_UART1_WF=1;
				 EN_UART1_WF_TMR=0;
				 UART1_WF_RX_items=UART1_WF_RX_pos;
				 UART1_WF_RX_pos=0;
				 UART1_WF_RX_vect[512]='\0'; //Finalizo el vector a la fuerza ya que recibo hasta 124
				 CopiaVector(UART1_WF_RX_vect_hld,UART1_WF_RX_vect,UART1_WF_RX_items,1,CMP_VECT);
				 HAL_UART_Receive_IT(&huart1,(uint8_t *)UART1_WF_RX_byte,1); //Habilito le recepcón de puerto serie al terminar
				 if (wf._DBG_EN==1)ITM0_Write((uint8_t *)UART1_WF_RX_vect_hld,UART1_WF_RX_items);

				 if (WF_SER_DBG==1)HAL_UART_Transmit_IT(&huart2,(uint8_t *)UART1_WF_RX_vect_hld,UART1_WF_RX_items);

		}
}

void ESP8266_HW_Reset(void)
{
	  ESP_REinit=0;
	  HAL_GPIO_WritePin(GPIOA, GPIO_PIN_8, GPIO_PIN_RESET);
	  ITM0_Write("\r\n ESP HW Resetting\r\n",strlen("\r\n ESP HW Resetting\r\n"));
	  HAL_Delay(2000);											//Tiempo de reset del módulo
	  ITM0_Write("\r\n ESP ResetT\r\n",strlen("\r\n ESP ResetT\r\n"));
	  HAL_GPIO_WritePin(GPIOA, GPIO_PIN_8, GPIO_PIN_SET);		//Habilito módulo
}
uint8_t ESP8266_HW_Init(UART_HandleTypeDef *SerialPort) //Devuelve 1 si reinició OK, y 0 si no
{
	do{
		  HAL_UART_Transmit(SerialPort, "AT+RESTORE\r\n",12,100);
		  HAL_Delay(500);
		  wf._n_fcomp=5;			//Cdad de elementos del vector a analizar
		  wf._n_orig=UART1_WF_RX_items;
		  while(FT_String_ND(UART1_WF_RX_vect_hld,&wf._n_orig,"ready",&wf._n_fcomp,wf._uartRCVD_tok,&wf._n_tok,&ntestc,&wf._id_conn,&wf._overflowVector,FIND)!=1)
		  {
			  wf._n_orig=UART1_WF_RX_items;
				  if (ESP_ticks>=5000)
					 {
						 ESP_InitF=1;
						 break;
					 }
		  }

		  if (ESP_ticks<5000)
		  {
			  ESP_REinit=10;	//Condición de salida
			  ESP_ticks=0;
		  }
		  else
		  {
			  ESP_REinit++;		//Conteo de la cantidad de veces que se reinicia el ciclo
			  ESP_ticks=0;
		  }

	 } while (ESP_REinit<=5);

	  if(ESP_REinit==10)
	  {
		  return(1);
	  }
	  else
	  {
		  return(0);
	  }
}

/* USER CODE END 4 */

void Error_Handler(void)
{
  __disable_irq();
  while (1)
  {
  }
}
